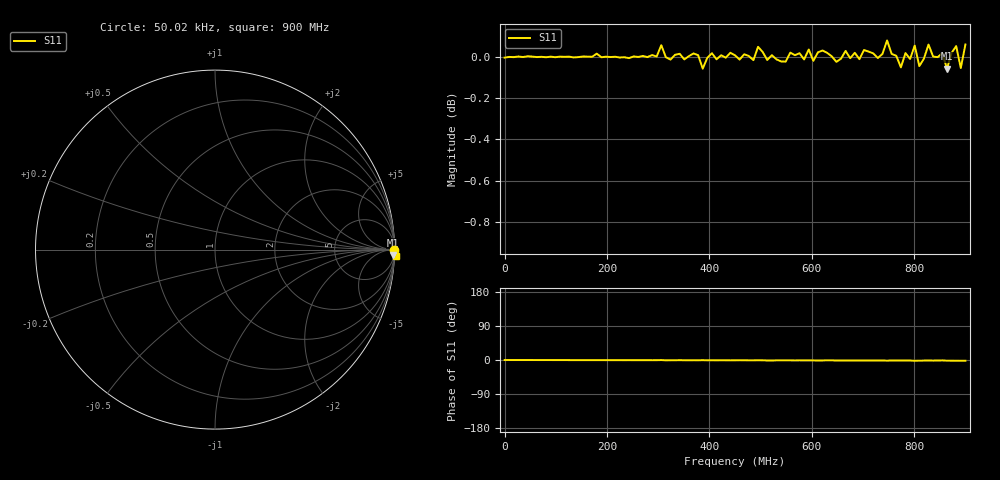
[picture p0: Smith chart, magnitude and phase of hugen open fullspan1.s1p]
! File created by NanoVNA (https://gen111.taobao.com/)
! Start 50016Hz  Stop 899999916Hz  Points 101
# HZ S MA R 50
!S - Parameter data, F S11
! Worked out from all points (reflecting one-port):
!   101 points, 50.02 kHz to 900 MHz, reference 50 ohm
!   lowest |S11| = -0.1 dB at 864 MHz (marker M1), VSWR 305.08, Z = 696 - j3.18e+03 ohm
!   phase of S11 starts at -0 deg and turns -2 deg over the sweep
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50016  0.9997 -0.0
1.170434e8  1 -0.2
2.340369e8  0.9999 -0.5
3.060329e8  1.007 -0.1
3.150324e8  0.9999 -0.9
3.420309e8  1.002 -0.5
3.780289e8  1.001 -0.7
3.870284e8  0.9935 -0.4
4.050274e8  1.002 -0.7
4.590244e8  0.9986 -0.6
4.860229e8  0.9983 -0.8
4.950224e8  1.006 -0.7
5.220209e8  1.001 -1.3
5.670184e8  1.001 -1.1
6.840119e8  1.002 -1.2
7.290094e8  0.9995 -1.3
7.470084e8  1.009 -1.7
7.740069e8  0.9943 -1.2
7.920059e8  0.9989 -1.4
8.010054e8  1.006 -2.0
8.100049e8  0.995 -1.8
8.280039e8  1.007 -1.3
8.370034e8  1 -1.6
8.550024e8  1.002 -1.1
8.640019e8  0.9935 -1.7
8.820009e8  1.006 -1.9
8.910004e8  0.9939 -2.0
8.999999e8  1.007 -2.0
